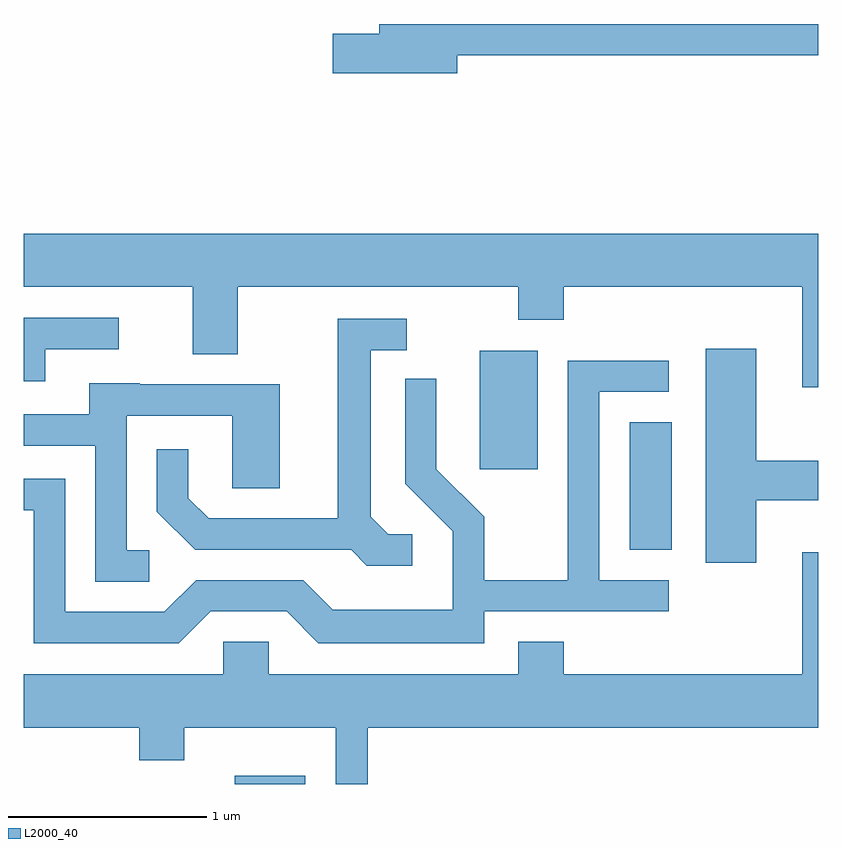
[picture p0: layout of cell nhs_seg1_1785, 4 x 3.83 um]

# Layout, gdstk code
import gdstk
lib = gdstk.Library(unit=1e-6, precision=1e-09)
def R(c, l, rs):  # rectangles x0, y0, x1, y1
    for r in rs: c.add(gdstk.rectangle(r[:2], r[2:], *l))
def P(c, l, *ps):  # polygons
    for p in ps: c.add(gdstk.Polygon(p, *l))
L2000_40 = (2000, 40)

nhs_seg1_1785 = lib.new_cell('nhs_seg1_1785')
R(nhs_seg1_1785, L2000_40, [(240.673,923.712,241.029,923.754), (242.661,924.891,242.874,925.534), (241.906,925.296,242.199,925.894)])
P(nhs_seg1_1785, L2000_40, [(241.794,927.381),(243.611,927.381),(243.611,927.539),(241.401,927.539),(241.401,927.489),(241.166,927.489),(241.166,927.291),(241.794,927.291)],
  [(243.611,926.484),(239.611,926.484),(239.611,926.216),(240.461,926.216),(240.461,925.876),(240.689,925.876),(240.689,926.216),(242.101,926.216),(242.101,926.051),(242.329,926.051),(242.329,926.216),(243.531,926.216),(243.531,925.711),(243.611,925.711)],
  [(239.719,925.901),(240.088,925.901),(240.088,926.059),(239.611,926.059),(239.611,925.741),(239.719,925.741)],
  [(241.568,924.969),(241.447,924.969),(241.359,925.057),(241.359,925.896),(241.538,925.896),(241.538,926.054),(241.191,926.054),(241.191,925.049),(240.542,925.049),(240.439,925.152),(240.439,925.398),(240.281,925.398),(240.281,925.084),(240.474,924.891),(241.259,924.891),(241.339,924.811),(241.568,924.811)],
  [(243.299,925.141),(243.611,925.141),(243.611,925.339),(243.299,925.339),(243.299,925.904),(243.046,925.904),(243.046,924.826),(243.299,924.826)],
  [(240.552,924.581),(240.934,924.581),(241.094,924.421),(241.929,924.421),(241.929,924.581),(242.858,924.581),(242.858,924.739),(242.509,924.739),(242.509,925.686),(242.858,925.686),(242.858,925.844),(242.351,925.844),(242.351,924.739),(241.929,924.739),(241.929,925.057),(241.689,925.297),(241.689,925.753),(241.531,925.753),(241.531,925.224),(241.771,924.984),(241.771,924.589),(241.167,924.589),(241.017,924.739),(240.479,924.739),(240.319,924.579),(239.819,924.579),(239.819,925.249),(239.611,925.249),(239.611,925.091),(239.661,925.091),(239.661,924.421),(240.392,924.421)],
  [(240.243,924.889),(240.129,924.889),(240.129,925.566),(240.661,925.566),(240.661,925.201),(240.899,925.201),(240.899,925.724),(240.195,925.724),(240.195,925.729),(239.941,925.729),(239.941,925.574),(239.611,925.574),(239.611,925.416),(239.971,925.416),(239.971,924.731),(240.243,924.731)],
  [(241.344,923.996),(243.611,923.996),(243.611,924.879),(243.531,924.879),(243.531,924.264),(242.329,924.264),(242.329,924.429),(242.101,924.429),(242.101,924.264),(240.844,924.264),(240.844,924.429),(240.616,924.429),(240.616,924.264),(239.611,924.264),(239.611,923.996),(240.191,923.996),(240.191,923.831),(240.419,923.831),(240.419,923.996),(241.181,923.996),(241.181,923.712),(241.344,923.712)])

lib.write_gds('nhs_seg1_1785.gds')
